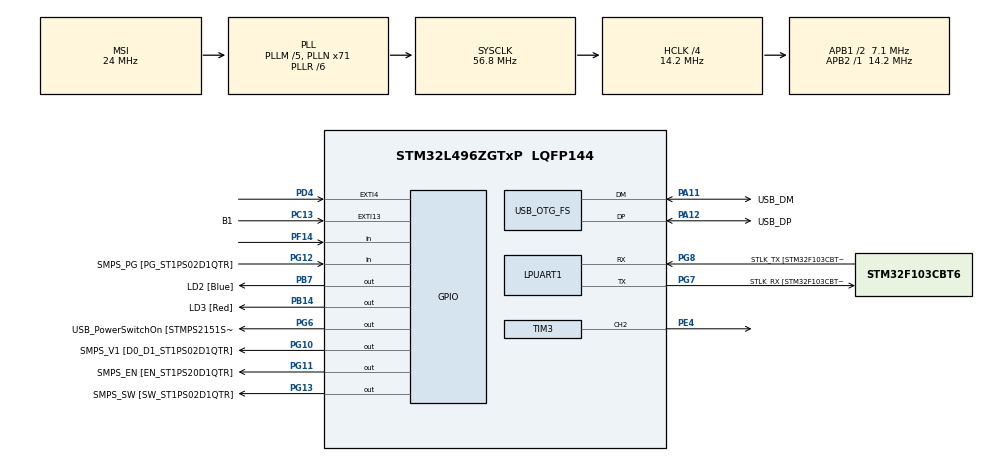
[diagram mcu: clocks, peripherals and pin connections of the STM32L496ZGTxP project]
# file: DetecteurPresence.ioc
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Mcu.Family=STM32L4
Mcu.Name=STM32L496ZGTxP
Mcu.Package=LQFP144
NVIC.EXTI4_IRQn=true\:0\:0\:false\:false\:true\:true\:true
NVIC.OTG_FS_IRQn=true\:0\:0\:false\:false\:true\:true\:true
NVIC.PriorityGroup=NVIC_PRIORITYGROUP_4
PA10.GPIO_Label=USB_ID
PA10.Signal=USB_OTG_FS_ID
PA11.GPIO_Label=USB_DM
PA11.Mode=Host_Only
PA11.Signal=USB_OTG_FS_DM
PA12.GPIO_Label=USB_DP
PA12.Mode=Host_Only
PA12.Signal=USB_OTG_FS_DP
PA13\ (JTMS/SWDIO).GPIO_Label=TMS
PA13\ (JTMS/SWDIO).Mode=Trace_Synchro_1bit_SW
PA13\ (JTMS/SWDIO).Signal=SYS_JTMS-SWDIO
PA14\ (JTCK/SWCLK).GPIO_Label=TCK
PA14\ (JTCK/SWCLK).Mode=Trace_Synchro_1bit_SW
PA14\ (JTCK/SWCLK).Signal=SYS_JTCK-SWCLK
PA8.GPIO_Label=USB_SOF [TP1]
PA8.Signal=USB_OTG_FS_SOF
PA9.GPIO_Label=USB_VBUS
PA9.Signal=USB_OTG_FS_VBUS
PB14.GPIO_Label=LD3 [Red]
PB14.Signal=GPIO_Output
PB3\ (JTDO/TRACESWO).GPIO_Label=SWO
PB3\ (JTDO/TRACESWO).Signal=SYS_JTDO-SWO
PB7.GPIO_Label=LD2 [Blue]
PB7.Signal=GPIO_Output
PC13.GPIO_Label=B1
PC13.Signal=GPXTI13
PC14-OSC32_IN\ (PC14).Mode=LSE-External-Oscillator
PC14-OSC32_IN\ (PC14).Signal=RCC_OSC32_IN
PC15-OSC32_OUT\ (PC15).Mode=LSE-External-Oscillator
PC15-OSC32_OUT\ (PC15).Signal=RCC_OSC32_OUT
PD4.GPIO_PuPd=GPIO_PULLDOWN
PD4.Signal=GPXTI4
PE2.Mode=Trace_Synchro_1bit_SW
PE2.Signal=SYS_TRACECLK
PE3.Mode=Trace_Synchro_1bit_SW
PE3.Signal=SYS_TRACED0
PE4.Signal=S_TIM3_CH2
PF14.GPIO_PuPd=GPIO_PULLDOWN
PF14.Signal=GPIO_Input
PG10.GPIO_Label=SMPS_V1 [D0_D1_ST1PS02D1QTR]
PG10.Signal=GPIO_Output
PG11.GPIO_Label=SMPS_EN [EN_ST1PS20D1QTR]
PG11.Signal=GPIO_Output
PG12.GPIO_Label=SMPS_PG [PG_ST1PS02D1QTR]
PG12.Signal=GPIO_Input
PG13.GPIO_Label=SMPS_SW [SW_ST1PS02D1QTR]
PG13.Signal=GPIO_Output
PG6.GPIO_Label=USB_PowerSwitchOn [STMPS2151STR_EN]
PG6.Signal=GPIO_Output
PG7.GPIO_Label=STLK_RX [STM32F103CBT6_PA3]
PG7.Mode=Asynchronous
PG7.Signal=LPUART1_TX
PG8.GPIO_Label=STLK_TX [STM32F103CBT6_PA2]
PG8.Mode=Asynchronous
PG8.Signal=LPUART1_RX
PH0-OSC_IN\ (PH0).GPIO_Label=MCO
PH0-OSC_IN\ (PH0).Signal=RCC_OSC_IN
PH1-OSC_OUT\ (PH1).Signal=RCC_OSC_OUT
ProjectManager.HeapSize=0x200
ProjectManager.StackSize=0x400
ProjectManager.TargetToolchain=STM32CubeIDE
RCC.48MHZClocksFreq_Value=24000000
RCC.ADCFreq_Value=48000000
RCC.AHBCLKDivider=RCC_SYSCLK_DIV4
RCC.AHBFreq_Value=14200000
RCC.APB1CLKDivider=RCC_HCLK_DIV2
RCC.APB1Freq_Value=7100000
RCC.APB1TimFreq_Value=14200000
RCC.APB2Freq_Value=14200000
RCC.APB2TimFreq_Value=14200000
RCC.CortexFreq_Value=14200000
RCC.HCLKFreq_Value=14200000
RCC.HSE_VALUE=8000000
RCC.HSI48_VALUE=48000000
RCC.HSI_VALUE=16000000
RCC.MSIClockRange=RCC_MSIRANGE_9
RCC.MSI_VALUE=24000000
RCC.PLLM=5
RCC.PLLMUL=RCC_PLL_MUL9
RCC.PLLN=71
RCC.PLLR=RCC_PLLR_DIV6
RCC.PLLSAI1N=20
RCC.PRESCALERUSB=RCC_USBCLKSOURCE_PLL_DIV1_5
RCC.SYSCLKFreq_VALUE=56800000
RCC.SYSCLKSource=RCC_SYSCLKSOURCE_PLLCLK
RCC.SYSCLKSourceVirtual=RCC_SYSCLKSOURCE_PLLCLK
RCC.USBFreq_Value=48000000
RCC.VCOOutputFreq_Value=340800000
SH.S_TIM3_CH2.0=TIM3_CH2,PWM Generation2 CH2
TIM2.Period=999
TIM2.Prescaler=283
TIM3.Channel-PWM\ Generation2\ CH2=TIM_CHANNEL_2
TIM3.Period=999
TIM3.Prescaler=139
USB_HOST.BSP.number=1
USB_HOST.USBH_HandleTypeDef=hUsbHostFS
USB_HOST.VirtualModeFS=Audio
USB_HOST0.BSP.STBoard=false
USB_HOST0.BSP.api=UnknownBspDriver
USB_HOST0.BSP.i2caddr=0
USB_HOST0.BSP.i2creg=0
USB_HOST0.BSP.instance=PG6
USB_HOST0.BSP.ip=GPIO
USB_HOST0.BSP.mode=Output
USB_HOST0.BSP.name=Drive_VBUS_FS
USB_HOST0.BSP.solution=PG6
USB_OTG_FS.VirtualMode=Host_Only
USB_OTG_FS.phy_itface=HCD_PHY_EMBEDDED
VP_TIM2_VS_ClockSourceINT.Mode=Internal
VP_TIM3_VS_ClockSourceINT.Mode=Internal
VP_USB_HOST_VS_USB_HOST_AUDIO_FS.Mode=AUDIO_FS
board=NUCLEO-L496ZG-P

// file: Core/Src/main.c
/* USER CODE BEGIN Header */
/**
  ******************************************************************************
  * @file           : main.c
  * @brief          : Main program body
  ******************************************************************************
  * @attention
  *
  * <h2><center>&copy; Copyright (c) 2026 STMicroelectronics.
  * All rights reserved.</center></h2>
  *
  * This software component is licensed by ST under Ultimate Liberty license
  * SLA0044, the "License"; You may not use this file except in compliance with
  * the License. You may obtain a copy of the License at:
  *                             www.st.com/SLA0044
  *
  ******************************************************************************
  */
/* USER CODE END Header */
#include "main.h"
#include "usb_host.h"

/* USER CODE BEGIN Includes */
#include <string.h>
#include <stdio.h>

/* USER CODE END Includes */

UART_HandleTypeDef hlpuart1;

TIM_HandleTypeDef htim2;
TIM_HandleTypeDef htim3;

/* USER CODE BEGIN PV */
volatile uint8_t presence_state = 0;  // état validé (0/1)

/* USER CODE END PV */

void SystemClock_Config(void);
static void MX_GPIO_Init(void);
static void MX_LPUART1_UART_Init(void);
static void MX_TIM2_Init(void);
static void MX_TIM3_Init(void);
void MX_USB_HOST_Process(void);

/* USER CODE BEGIN PFP */

void UART_Print(const char *msg);
void Set_Servo_Angle(TIM_HandleTypeDef *htim,uint32_t channel ,uint8_t angle);
uint8_t Presence_Read(void);;
/* USER CODE END PFP */

/* USER CODE BEGIN 0 */
void Set_Servo_Angle(TIM_HandleTypeDef *htim,uint32_t channel ,uint8_t angle){
	uint32_t pulse_lenght=210+(angle*(1050-210)/180);
	__HAL_TIM_SET_COMPARE(htim,channel,pulse_lenght);

};
/* USER CODE END 0 */

int main(void)
{

  /* MCU Configuration--------------------------------------------------------*/

  /* Reset of all peripherals, Initializes the Flash interface and the Systick. */
  HAL_Init();

  /* Configure the system clock */
  SystemClock_Config();

  /* Initialize all configured peripherals */
  MX_GPIO_Init();
  MX_LPUART1_UART_Init();
  MX_USB_HOST_Init();
  MX_TIM2_Init();
  MX_TIM3_Init();
  /* USER CODE BEGIN 2 */
  HAL_Delay(1000);

  /* USER CODE END 2 */

  /* Infinite loop */
  /* USER CODE BEGIN WHILE */

  /* Infinite loop */
  /* USER CODE BEGIN WHILE */
  while (1)
  {

	    uint8_t raw = HAL_GPIO_ReadPin(GPIOF, GPIO_PIN_14);

	    // Si ton PIR est inversé, décommente la ligne suivante :
	    // raw = !raw;

	    // LED suit l'état "raw"
	    HAL_GPIO_WritePin(GPIOB, GPIO_PIN_7, raw ? GPIO_PIN_RESET : GPIO_PIN_SET);

	    // log seulement si changement
	    static uint8_t last = 2; // valeur impossible au démarrage
	    if (raw != last)
	    {
	       last = raw;
	        if (raw) UART_Print("Presence detectee\r\n");
	       else     UART_Print("Absence detectee\r\n");
	   }

	    HAL_Delay(5); // mini pause pour éviter d’inonder l’UART/CPU

	    for(uint8_t angle=0; angle<=180;angle+=50){
	    	Set_Servo_Angle(&htim2,TIM_CHANNEL_1,angle);
	    	HAL_Delay(100);
	    }
	    for(uint8_t angle=180; angle>50;angle-=50){
	   	    	Set_Servo_Angle(&htim2,TIM_CHANNEL_1,angle);
	   	    	HAL_Delay(100);
	   	    }
	}

    /* USER CODE END WHILE */
    MX_USB_HOST_Process();

}

void SystemClock_Config(void)
{
  RCC_OscInitTypeDef RCC_OscInitStruct = {0};
  RCC_ClkInitTypeDef RCC_ClkInitStruct = {0};
  RCC_PeriphCLKInitTypeDef PeriphClkInit = {0};

  /** Configure LSE Drive Capability
  */
  HAL_PWR_EnableBkUpAccess();
  __HAL_RCC_LSEDRIVE_CONFIG(RCC_LSEDRIVE_LOW);
  /** Initializes the RCC Oscillators according to the specified parameters
  * in the RCC_OscInitTypeDef structure.
  */
  RCC_OscInitStruct.OscillatorType = RCC_OSCILLATORTYPE_LSE|RCC_OSCILLATORTYPE_MSI;
  RCC_OscInitStruct.LSEState = RCC_LSE_ON;
  RCC_OscInitStruct.MSIState = RCC_MSI_ON;
  RCC_OscInitStruct.MSICalibrationValue = 0;
  RCC_OscInitStruct.MSIClockRange = RCC_MSIRANGE_9;
  RCC_OscInitStruct.PLL.PLLState = RCC_PLL_ON;
  RCC_OscInitStruct.PLL.PLLSource = RCC_PLLSOURCE_MSI;
  RCC_OscInitStruct.PLL.PLLM = 5;
  RCC_OscInitStruct.PLL.PLLN = 71;
  RCC_OscInitStruct.PLL.PLLP = RCC_PLLP_DIV2;
  RCC_OscInitStruct.PLL.PLLQ = RCC_PLLQ_DIV2;
  RCC_OscInitStruct.PLL.PLLR = RCC_PLLR_DIV6;
  if (HAL_RCC_OscConfig(&RCC_OscInitStruct) != HAL_OK)
  {
    Error_Handler();
  }
  /** Initializes the CPU, AHB and APB buses clocks
  */
  RCC_ClkInitStruct.ClockType = RCC_CLOCKTYPE_HCLK|RCC_CLOCKTYPE_SYSCLK
                              |RCC_CLOCKTYPE_PCLK1|RCC_CLOCKTYPE_PCLK2;
  RCC_ClkInitStruct.SYSCLKSource = RCC_SYSCLKSOURCE_PLLCLK;
  RCC_ClkInitStruct.AHBCLKDivider = RCC_SYSCLK_DIV4;
  RCC_ClkInitStruct.APB1CLKDivider = RCC_HCLK_DIV2;
  RCC_ClkInitStruct.APB2CLKDivider = RCC_HCLK_DIV1;

  if (HAL_RCC_ClockConfig(&RCC_ClkInitStruct, FLASH_LATENCY_0) != HAL_OK)
  {
    Error_Handler();
  }
  PeriphClkInit.PeriphClockSelection = RCC_PERIPHCLK_LPUART1|RCC_PERIPHCLK_USB;
  PeriphClkInit.Lpuart1ClockSelection = RCC_LPUART1CLKSOURCE_PCLK1;
  PeriphClkInit.UsbClockSelection = RCC_USBCLKSOURCE_PLLSAI1;
  PeriphClkInit.PLLSAI1.PLLSAI1Source = RCC_PLLSOURCE_MSI;
  PeriphClkInit.PLLSAI1.PLLSAI1M = 5;
  PeriphClkInit.PLLSAI1.PLLSAI1N = 20;
  PeriphClkInit.PLLSAI1.PLLSAI1P = RCC_PLLP_DIV2;
  PeriphClkInit.PLLSAI1.PLLSAI1Q = RCC_PLLQ_DIV2;
  PeriphClkInit.PLLSAI1.PLLSAI1R = RCC_PLLR_DIV2;
  PeriphClkInit.PLLSAI1.PLLSAI1ClockOut = RCC_PLLSAI1_48M2CLK;
  if (HAL_RCCEx_PeriphCLKConfig(&PeriphClkInit) != HAL_OK)
  {
    Error_Handler();
  }
  /** Configure the main internal regulator output voltage
  */
  if (HAL_PWREx_ControlVoltageScaling(PWR_REGULATOR_VOLTAGE_SCALE1) != HAL_OK)
  {
    Error_Handler();
  }
  /** Enable MSI Auto calibration
  */
  HAL_RCCEx_EnableMSIPLLMode();
}

static void MX_LPUART1_UART_Init(void)
{

  hlpuart1.Instance = LPUART1;
  hlpuart1.Init.BaudRate = 209700;
  hlpuart1.Init.WordLength = UART_WORDLENGTH_7B;
  hlpuart1.Init.StopBits = UART_STOPBITS_1;
  hlpuart1.Init.Parity = UART_PARITY_NONE;
  hlpuart1.Init.Mode = UART_MODE_TX_RX;
  hlpuart1.Init.HwFlowCtl = UART_HWCONTROL_NONE;
  hlpuart1.Init.OneBitSampling = UART_ONE_BIT_SAMPLE_DISABLE;
  hlpuart1.AdvancedInit.AdvFeatureInit = UART_ADVFEATURE_NO_INIT;
  if (HAL_UART_Init(&hlpuart1) != HAL_OK)
  {
    Error_Handler();
  }

}

static void MX_TIM2_Init(void)
{

  TIM_ClockConfigTypeDef sClockSourceConfig = {0};
  TIM_MasterConfigTypeDef sMasterConfig = {0};

  htim2.Instance = TIM2;
  htim2.Init.Prescaler = 283;
  htim2.Init.CounterMode = TIM_COUNTERMODE_UP;
  htim2.Init.Period = 999;
  htim2.Init.ClockDivision = TIM_CLOCKDIVISION_DIV1;
  htim2.Init.AutoReloadPreload = TIM_AUTORELOAD_PRELOAD_DISABLE;
  if (HAL_TIM_Base_Init(&htim2) != HAL_OK)
  {
    Error_Handler();
  }
  sClockSourceConfig.ClockSource = TIM_CLOCKSOURCE_INTERNAL;
  if (HAL_TIM_ConfigClockSource(&htim2, &sClockSourceConfig) != HAL_OK)
  {
    Error_Handler();
  }
  sMasterConfig.MasterOutputTrigger = TIM_TRGO_RESET;
  sMasterConfig.MasterSlaveMode = TIM_MASTERSLAVEMODE_DISABLE;
  if (HAL_TIMEx_MasterConfigSynchronization(&htim2, &sMasterConfig) != HAL_OK)
  {
    Error_Handler();
  }

}

static void MX_TIM3_Init(void)
{

  TIM_ClockConfigTypeDef sClockSourceConfig = {0};
  TIM_MasterConfigTypeDef sMasterConfig = {0};
  TIM_OC_InitTypeDef sConfigOC = {0};

  htim3.Instance = TIM3;
  htim3.Init.Prescaler = 139;
  htim3.Init.CounterMode = TIM_COUNTERMODE_UP;
  htim3.Init.Period = 999;
  htim3.Init.ClockDivision = TIM_CLOCKDIVISION_DIV1;
  htim3.Init.AutoReloadPreload = TIM_AUTORELOAD_PRELOAD_DISABLE;
  if (HAL_TIM_Base_Init(&htim3) != HAL_OK)
  {
    Error_Handler();
  }
  sClockSourceConfig.ClockSource = TIM_CLOCKSOURCE_INTERNAL;
  if (HAL_TIM_ConfigClockSource(&htim3, &sClockSourceConfig) != HAL_OK)
  {
    Error_Handler();
  }
  if (HAL_TIM_PWM_Init(&htim3) != HAL_OK)
  {
    Error_Handler();
  }
  sMasterConfig.MasterOutputTrigger = TIM_TRGO_RESET;
  sMasterConfig.MasterSlaveMode = TIM_MASTERSLAVEMODE_DISABLE;
  if (HAL_TIMEx_MasterConfigSynchronization(&htim3, &sMasterConfig) != HAL_OK)
  {
    Error_Handler();
  }
  sConfigOC.OCMode = TIM_OCMODE_PWM1;
  sConfigOC.Pulse = 0;
  sConfigOC.OCPolarity = TIM_OCPOLARITY_HIGH;
  sConfigOC.OCFastMode = TIM_OCFAST_DISABLE;
  if (HAL_TIM_PWM_ConfigChannel(&htim3, &sConfigOC, TIM_CHANNEL_2) != HAL_OK)
  {
    Error_Handler();
  }
  HAL_TIM_MspPostInit(&htim3);

}

static void MX_GPIO_Init(void)
{
  GPIO_InitTypeDef GPIO_InitStruct = {0};

  /* GPIO Ports Clock Enable */
  __HAL_RCC_GPIOE_CLK_ENABLE();
  __HAL_RCC_GPIOC_CLK_ENABLE();
  __HAL_RCC_GPIOH_CLK_ENABLE();
  __HAL_RCC_GPIOF_CLK_ENABLE();
  __HAL_RCC_GPIOB_CLK_ENABLE();
  __HAL_RCC_GPIOG_CLK_ENABLE();
  HAL_PWREx_EnableVddIO2();
  __HAL_RCC_GPIOA_CLK_ENABLE();
  __HAL_RCC_GPIOD_CLK_ENABLE();

  /*Configure GPIO pin Output Level */
  HAL_GPIO_WritePin(GPIOB, LD3_Pin|LD2_Pin, GPIO_PIN_RESET);

  /*Configure GPIO pin Output Level */
  HAL_GPIO_WritePin(GPIOG, USB_PowerSwitchOn_Pin|SMPS_V1_Pin|SMPS_EN_Pin|SMPS_SW_Pin, GPIO_PIN_RESET);

  /*Configure GPIO pin : B1_Pin */
  GPIO_InitStruct.Pin = B1_Pin;
  GPIO_InitStruct.Mode = GPIO_MODE_IT_RISING;
  GPIO_InitStruct.Pull = GPIO_NOPULL;
  HAL_GPIO_Init(B1_GPIO_Port, &GPIO_InitStruct);

  /*Configure GPIO pin : PF14 */
  GPIO_InitStruct.Pin = GPIO_PIN_14;
  GPIO_InitStruct.Mode = GPIO_MODE_INPUT;
  GPIO_InitStruct.Pull = GPIO_PULLDOWN;
  HAL_GPIO_Init(GPIOF, &GPIO_InitStruct);

  /*Configure GPIO pins : LD3_Pin LD2_Pin */
  GPIO_InitStruct.Pin = LD3_Pin|LD2_Pin;
  GPIO_InitStruct.Mode = GPIO_MODE_OUTPUT_PP;
  GPIO_InitStruct.Pull = GPIO_NOPULL;
  GPIO_InitStruct.Speed = GPIO_SPEED_FREQ_LOW;
  HAL_GPIO_Init(GPIOB, &GPIO_InitStruct);

  /*Configure GPIO pins : USB_PowerSwitchOn_Pin SMPS_V1_Pin SMPS_EN_Pin SMPS_SW_Pin */
  GPIO_InitStruct.Pin = USB_PowerSwitchOn_Pin|SMPS_V1_Pin|SMPS_EN_Pin|SMPS_SW_Pin;
  GPIO_InitStruct.Mode = GPIO_MODE_OUTPUT_PP;
  GPIO_InitStruct.Pull = GPIO_NOPULL;
  GPIO_InitStruct.Speed = GPIO_SPEED_FREQ_LOW;
  HAL_GPIO_Init(GPIOG, &GPIO_InitStruct);

  /*Configure GPIO pin : PD4 */
  GPIO_InitStruct.Pin = GPIO_PIN_4;
  GPIO_InitStruct.Mode = GPIO_MODE_IT_RISING;
  GPIO_InitStruct.Pull = GPIO_PULLDOWN;
  HAL_GPIO_Init(GPIOD, &GPIO_InitStruct);

  /*Configure GPIO pin : SMPS_PG_Pin */
  GPIO_InitStruct.Pin = SMPS_PG_Pin;
  GPIO_InitStruct.Mode = GPIO_MODE_INPUT;
  GPIO_InitStruct.Pull = GPIO_NOPULL;
  HAL_GPIO_Init(SMPS_PG_GPIO_Port, &GPIO_InitStruct);

  /* EXTI interrupt init*/
  HAL_NVIC_SetPriority(EXTI4_IRQn, 0, 0);
  HAL_NVIC_EnableIRQ(EXTI4_IRQn);

}

/* USER CODE BEGIN 4 */

void UART_Print(const char *msg)
{
  HAL_UART_Transmit(&hlpuart1, (uint8_t *)msg, strlen(msg), HAL_MAX_DELAY);
}

uint8_t Presence_Read(void)
{
    return HAL_GPIO_ReadPin(GPIOF, GPIO_PIN_14);
}

/* USER CODE END 4 */

void Error_Handler(void)
{
  __disable_irq();
  while (1)
  {
  }
}

/************************ (C) COPYRIGHT STMicroelectronics *****END OF FILE****/
